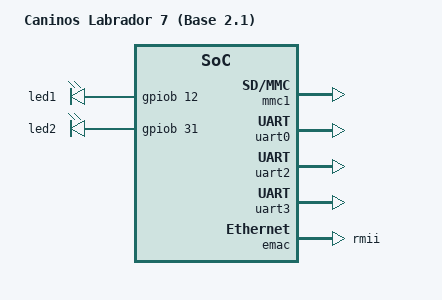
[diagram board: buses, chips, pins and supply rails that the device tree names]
// SPDX-License-Identifier: (GPL-2.0+ OR MIT)
#include "k7-soc.dtsi"

/ {
	model = "Caninos Labrador 7 (Base 2.1)";
};

&soc {
	leds {
		compatible = "gpio-leds";
		
		led@1 {
			label = "led1";
			gpios = <&gpiob 12 GPIO_ACTIVE_HIGH>;
			linux,default-trigger = "default-on";
			default-state = "ON";
		};
		
		led@2 {
			label = "led2";
			gpios = <&gpiob 31 GPIO_ACTIVE_HIGH>;
			linux,default-trigger = "heartbeat";
			default-state = "ON";
		};
	};
};

&mmc1 {
	enable-gpios = <&gpiob 30 GPIO_ACTIVE_HIGH>, <&gpioc 3 GPIO_ACTIVE_HIGH>;
	status = "okay";
};

&uart0 {
	status = "okay";
};

&uart2 {
	status = "okay";
};

&uart3 {
	status = "okay";
};

&emac {
	phy-mode = "rmii";
	status = "okay";
	
	mdio {
		reset-gpios = <&gpiod 31 GPIO_ACTIVE_LOW>;
		reset-delay-us = <20000>;
		reset-post-delay-us = <150000>;
	};
};

&phy0 {
	max-speed = <100>;
};
